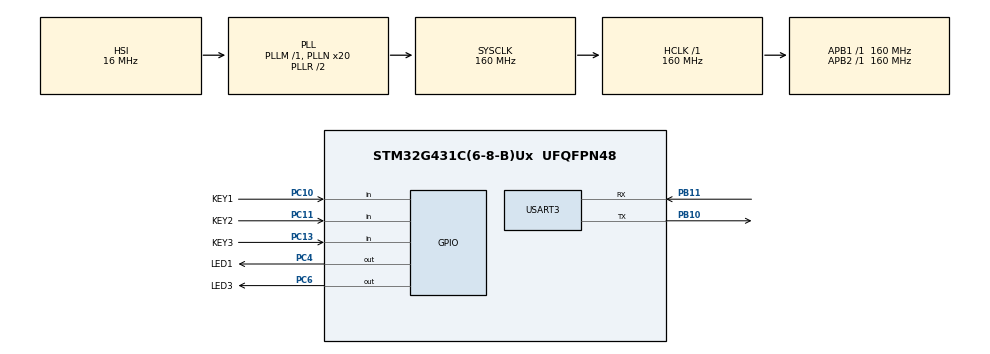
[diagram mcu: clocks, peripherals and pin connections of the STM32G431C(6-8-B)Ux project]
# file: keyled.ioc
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Mcu.Family=STM32G4
Mcu.Name=STM32G431C(6-8-B)Ux
Mcu.Package=UFQFPN48
NVIC.PriorityGroup=NVIC_PRIORITYGROUP_4
NVIC.TIM1_TRG_COM_TIM17_IRQn=true\:0\:0\:false\:false\:true\:true\:true\:true
PA13.Mode=Serial_Wire
PA13.Signal=SYS_JTMS-SWDIO
PA14.Mode=Serial_Wire
PA14.Signal=SYS_JTCK-SWCLK
PB10.Mode=Asynchronous
PB10.Signal=USART3_TX
PB11.Mode=Asynchronous
PB11.Signal=USART3_RX
PC10.GPIO_Label=KEY1
PC10.Signal=GPIO_Input
PC11.GPIO_Label=KEY2
PC11.Signal=GPIO_Input
PC13.GPIO_Label=KEY3
PC13.Signal=GPIO_Input
PC4.GPIO_Label=LED1
PC4.PinState=GPIO_PIN_SET
PC4.Signal=GPIO_Output
PC6.GPIO_Label=LED3
PC6.PinState=GPIO_PIN_SET
PC6.Signal=GPIO_Output
PF0-OSC_IN.Mode=HSE-External-Oscillator
PF0-OSC_IN.Signal=RCC_OSC_IN
PF1-OSC_OUT.Mode=HSE-External-Oscillator
PF1-OSC_OUT.Signal=RCC_OSC_OUT
ProjectManager.HeapSize=0x200
ProjectManager.StackSize=0x400
ProjectManager.TargetToolchain=MDK-ARM V5.32
RCC.ADC12Freq_Value=160000000
RCC.AHBFreq_Value=160000000
RCC.APB1Freq_Value=160000000
RCC.APB1TimFreq_Value=160000000
RCC.APB2Freq_Value=160000000
RCC.APB2TimFreq_Value=160000000
RCC.CortexFreq_Value=160000000
RCC.EXTERNAL_CLOCK_VALUE=12288000
RCC.HCLKFreq_Value=160000000
RCC.HSE_VALUE=24000000
RCC.HSI48_VALUE=48000000
RCC.HSI_VALUE=16000000
RCC.LSE_VALUE=32768
RCC.PLLN=20
RCC.SYSCLKFreq_VALUE=160000000
RCC.SYSCLKSource=RCC_SYSCLKSOURCE_PLLCLK
RCC.USBFreq_Value=160000000
RCC.VCOOutputFreq_Value=320000000
TIM17.PeriodNoDither=10000-1
TIM17.Prescaler=16-1
USART3.VirtualMode-Asynchronous=VM_ASYNC
VP_SYS_VS_DBSignals.Mode=DisableDeadBatterySignals
VP_TIM17_VS_ClockSourceINT.Mode=Enable_Timer
board=custom

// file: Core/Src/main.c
/* USER CODE BEGIN Header */
/**
  ******************************************************************************
  * @file           : main.c
  * @brief          : Main program body
  ******************************************************************************
  * @attention
  *
  * Copyright (c) 2025 STMicroelectronics.
  * All rights reserved.
  *
  * This software is licensed under terms that can be found in the LICENSE file
  * in the root directory of this software component.
  * If no LICENSE file comes with this software, it is provided AS-IS.
  *
  ******************************************************************************
  */
/* USER CODE END Header */
#include "main.h"
#include "tim.h"
#include "usart.h"
#include "gpio.h"

/* USER CODE BEGIN Includes */
#include "multi_button.h"
#include "string.h"
#include "stdio.h"
/* USER CODE END Includes */

void SystemClock_Config(void);
/* USER CODE BEGIN PFP */
void BTN1_PRESS_DOWN_Handler(void* btn);
void BTN1_PRESS_UP_Handler(void* btn);
void BTN1_PRESS_REPEAT_Handler(void* btn);
void BTN1_SINGLE_Click_Handler(void* btn);
void BTN1_DOUBLE_Click_Handler(void* btn);
void BTN1_LONG_PRESS_START_Handler(void* btn);
void BTN1_LONG_PRESS_HOLD_Handler(void* btn);
/* USER CODE END PFP */

/* USER CODE BEGIN 0 */
enum Button_IDs {
	btn1_id,
	btn2_id,
};

struct Button btn1;
struct Button btn2;

const char* multiButtonEventStrings[] = {
	"PRESS_DOWN\r\n",
	"PRESS_UP\r\n",
	"PRESS_REPEAT\r\n",
	"SINGLE_CLICK\r\n",
	"DOUBLE_CLICK\r\n",
	"LONG_PRESS_START\r\n",
	"LONG_PRESS_HOLD\r\n",
};

uint8_t read_button_GPIO(uint8_t button_id)
{
	// you can share the GPIO read function with multiple Buttons
	switch (button_id)
	{
	case btn1_id:
		return HAL_GPIO_ReadPin(KEY1_GPIO_Port, KEY1_Pin);
	case btn2_id:
		return HAL_GPIO_ReadPin(KEY2_GPIO_Port, KEY2_Pin);
	default:
		return 0;
	}
}

uint8_t key_state;
/* USER CODE END 0 */

int main(void)
{

  /* MCU Configuration--------------------------------------------------------*/

  /* Reset of all peripherals, Initializes the Flash interface and the Systick. */
  HAL_Init();

  /* Configure the system clock */
  SystemClock_Config();

  /* Initialize all configured peripherals */
  MX_GPIO_Init();
  MX_TIM17_Init();
  MX_USART3_UART_Init();
  /* USER CODE BEGIN 2 */

  button_init(&btn1, read_button_GPIO, 1, btn1_id);
  button_init(&btn2, read_button_GPIO, 1, btn2_id);

  button_attach(&btn1, PRESS_DOWN, BTN1_PRESS_DOWN_Handler);
  button_attach(&btn1, PRESS_UP, BTN1_PRESS_UP_Handler);
  button_attach(&btn1, PRESS_REPEAT, BTN1_PRESS_REPEAT_Handler);
  button_attach(&btn1, SINGLE_CLICK, BTN1_SINGLE_Click_Handler);
  button_attach(&btn1, DOUBLE_CLICK, BTN1_DOUBLE_Click_Handler);
  button_attach(&btn1, LONG_PRESS_START, BTN1_LONG_PRESS_START_Handler);
  button_attach(&btn1, LONG_PRESS_HOLD, BTN1_LONG_PRESS_HOLD_Handler);

//  button_attach(&btn2, PRESS_DOWN, BTN2_PRESS_DOWN_Handler);
//  button_attach(&btn2, PRESS_UP, BTN2_PRESS_UP_Handler);
//  button_attach(&btn2, PRESS_REPEAT, BTN2_PRESS_REPEAT_Handler);
//  button_attach(&btn2, SINGLE_CLICK, BTN2_SINGLE_Click_Handler);
//  button_attach(&btn2, DOUBLE_CLICK, BTN2_DOUBLE_Click_Handler);
//  button_attach(&btn2, LONG_PRESS_START, BTN2_LONG_PRESS_START_Handler);
//  button_attach(&btn2, LONG_PRESS_HOLD, BTN2_LONG_PRESS_HOLD_Handler);

  button_start(&btn1);
  button_start(&btn2);
  HAL_TIM_Base_Start_IT(&htim17);
  assert_param(0);
  /* USER CODE END 2 */

  /* Infinite loop */
  while (1)
  {

  }
}

void SystemClock_Config(void)
{
  RCC_OscInitTypeDef RCC_OscInitStruct = {0};
  RCC_ClkInitTypeDef RCC_ClkInitStruct = {0};

  /** Configure the main internal regulator output voltage
  */
  HAL_PWREx_ControlVoltageScaling(PWR_REGULATOR_VOLTAGE_SCALE1_BOOST);

  /** Initializes the RCC Oscillators according to the specified parameters
  * in the RCC_OscInitTypeDef structure.
  */
  RCC_OscInitStruct.OscillatorType = RCC_OSCILLATORTYPE_HSI;
  RCC_OscInitStruct.HSIState = RCC_HSI_ON;
  RCC_OscInitStruct.HSICalibrationValue = RCC_HSICALIBRATION_DEFAULT;
  RCC_OscInitStruct.PLL.PLLState = RCC_PLL_ON;
  RCC_OscInitStruct.PLL.PLLSource = RCC_PLLSOURCE_HSI;
  RCC_OscInitStruct.PLL.PLLM = RCC_PLLM_DIV1;
  RCC_OscInitStruct.PLL.PLLN = 20;
  RCC_OscInitStruct.PLL.PLLP = RCC_PLLP_DIV2;
  RCC_OscInitStruct.PLL.PLLQ = RCC_PLLQ_DIV2;
  RCC_OscInitStruct.PLL.PLLR = RCC_PLLR_DIV2;
  if (HAL_RCC_OscConfig(&RCC_OscInitStruct) != HAL_OK)
  {
    Error_Handler();
  }

  /** Initializes the CPU, AHB and APB buses clocks
  */
  RCC_ClkInitStruct.ClockType = RCC_CLOCKTYPE_HCLK|RCC_CLOCKTYPE_SYSCLK
                              |RCC_CLOCKTYPE_PCLK1|RCC_CLOCKTYPE_PCLK2;
  RCC_ClkInitStruct.SYSCLKSource = RCC_SYSCLKSOURCE_PLLCLK;
  RCC_ClkInitStruct.AHBCLKDivider = RCC_SYSCLK_DIV1;
  RCC_ClkInitStruct.APB1CLKDivider = RCC_HCLK_DIV1;
  RCC_ClkInitStruct.APB2CLKDivider = RCC_HCLK_DIV1;

  if (HAL_RCC_ClockConfig(&RCC_ClkInitStruct, FLASH_LATENCY_4) != HAL_OK)
  {
    Error_Handler();
  }
}

/* USER CODE BEGIN 4 */
void HAL_TIM_PeriodElapsedCallback(TIM_HandleTypeDef* htim)
{
	if (htim->Instance == TIM17)
	{
		button_ticks();
	}
}

uint8_t tx_buffer[100];
void BTN1_PRESS_DOWN_Handler(void* btn)
{
	HAL_GPIO_WritePin(LED1_GPIO_Port, LED1_Pin, 0);
	//do something...
	HAL_UART_Transmit(&huart3, (const uint8_t *)multiButtonEventStrings[0], strlen(multiButtonEventStrings[0]), 1000);
}

void BTN1_PRESS_UP_Handler(void* btn)
{
	HAL_GPIO_WritePin(LED1_GPIO_Port, LED1_Pin, 1);
	//do something...
	HAL_UART_Transmit(&huart3, (const uint8_t *)multiButtonEventStrings[1], strlen(multiButtonEventStrings[1]), 1000);
}

void BTN1_PRESS_REPEAT_Handler(void* btn)
{
	HAL_UART_Transmit(&huart3, (const uint8_t*)multiButtonEventStrings[2], strlen(multiButtonEventStrings[2]), 1000);
}

void BTN1_SINGLE_Click_Handler(void* btn)
{
	HAL_UART_Transmit(&huart3, (const uint8_t*)multiButtonEventStrings[3], strlen(multiButtonEventStrings[3]), 1000);
}
void BTN1_DOUBLE_Click_Handler(void* btn)
{
	HAL_GPIO_WritePin(LED3_GPIO_Port, LED3_Pin, 0);
	HAL_UART_Transmit(&huart3, (const uint8_t*)multiButtonEventStrings[4], strlen(multiButtonEventStrings[4]), 1000);
}
void BTN1_LONG_PRESS_START_Handler(void* btn)
{
	HAL_UART_Transmit(&huart3, (const uint8_t*)multiButtonEventStrings[5], strlen(multiButtonEventStrings[5]), 1000);
}
void BTN1_LONG_PRESS_HOLD_Handler(void* btn)
{
	HAL_UART_Transmit(&huart3, (const uint8_t*)multiButtonEventStrings[6], strlen(multiButtonEventStrings[6]), 1000);
}
/* USER CODE END 4 */

void Error_Handler(void)
{
  __disable_irq();
  while (1)
  {
  }
}
